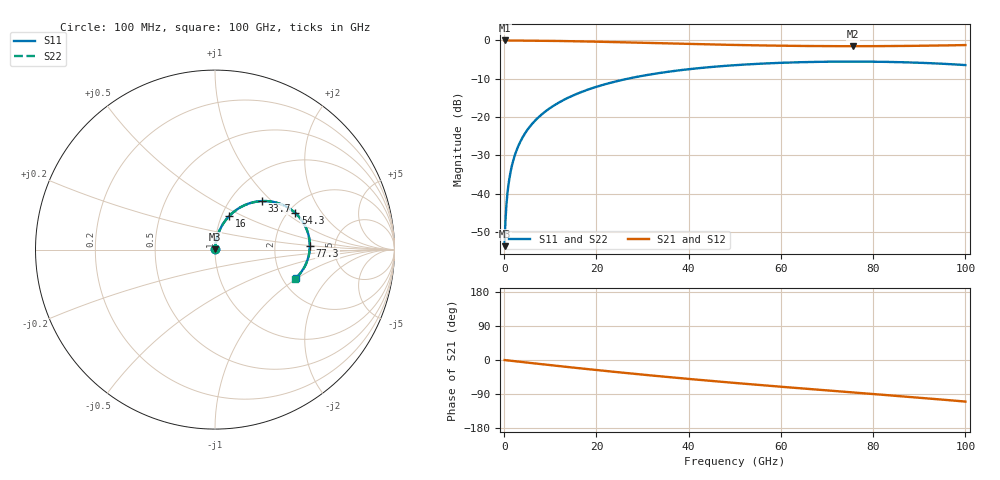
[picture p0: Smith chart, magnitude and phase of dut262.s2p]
! Touchstone file exported from HFSS 2026.1.0
!  File:  C:/ffzhzh/LocalFiles/Ansys_Project_Files/temp_train_RDL_262_1783501696_41296.aedt
!  Generated:  05:09:30 PM Jul  8, 2026
!  Design:  RDL
!  Project:  temp_train_RDL_262_1783501696_41296
! Variables:
!  h_bsmrdl = 2um
!  h_ox = 20um
!  h_rdl = 5um
!  h_sub = 80um
!  h_tmrdl = 3.65um
!  h_tsv = 80um
!  h_via = 3um
!  l_bsmrdl = 300um
!  l_sub = 751.84um
!  l_tmrdl = 351.84um
!  m_sub = 200um
!  pitch = 59.42um
!  r_tsv = 6um
!  s_tmrdl = 10um
!  w_bsmrdl = 18um
!  w_sub = 500um
!  w_tmrdl = 29.65um
!  x_tsv_center1 = 366.665um
!  x_tsv_center2 = 684.665um
!  x_tsv_center3 = 1066.155um
!  x_tsv_center4 = 1384.155um
!  x_tsv_center5 = 1765.645um
!  x_tsv_center6 = 2083.645um
# GHz S MA R 50.000000
! Terminal data exported
! Port[1] = TM_RDL1_1_T1
! Port[2] = TM_RDL1_1_T2
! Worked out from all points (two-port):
!   1000 points, 100 MHz to 100 GHz, reference 50 ohm
!   highest |S21| = -0.01 dB at 100 MHz (marker M1); lowest = -1.5 dB at 75.6 GHz (marker M2)
!   |S21| within 3 dB of the highest: start of sweep to end of sweep
!   lowest |S11| = -53.7 dB at 100 MHz (marker M3), VSWR 1.00, Z = 50.1 + j0.151 ohm
!   |S11| at or under -10 dB: start of sweep to 26.81 GHz
!   |S22| runs from -53.7 to -5.5 dB; largest |S21 - S12| = 3.9e-15
!   S11 on the Smith chart (normalised r, x): 100 MHz: 1.00, +0.00; 16 GHz: 1.09, +0.42; 33.7 GHz: 1.39, +0.87; 54.3 GHz: 2.19, +1.18; 77.3 GHz: 3.23, +0.20; 100 GHz: 2.35, -0.97
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0.1  0.002055 47.1  0.9986 -0.1  0.9986 -0.1  0.002055 47.1
! Gamma 0 0 0 0
! Port Impedance 50 0 50 0
0.8  0.01121 79.7  0.9981 -1.1  0.9981 -1.1  0.01121 79.7
1.1  0.01523 81.5  0.998 -1.5  0.998 -1.5  0.01523 81.5
1.4  0.01927 82.4  0.9979 -1.9  0.9979 -1.9  0.01927 82.4
1.9  0.02602 83.0  0.9977 -2.6  0.9977 -2.6  0.02602 82.9
2.4  0.03276 83.0  0.9973 -3.3  0.9973 -3.3  0.03276 83.0
3.8  0.0515 82.0  0.9961 -5.2  0.9961 -5.2  0.0515 82.0
5.8  0.07782 79.7  0.9938 -7.9  0.9938 -7.9  0.07782 79.7
8.5  0.1125 76.4  0.9896 -11.5  0.9896 -11.5  0.1125 76.4
11.9  0.1546 72.2  0.9831 -16.0  0.9831 -16.0  0.1546 72.1
16  0.2032 67.1  0.9735 -21.4  0.9735 -21.4  0.2032 67.0
16.8  0.2123 66.1  0.9714 -22.4  0.9714 -22.4  0.2123 66.0
24.2  0.2911 57.1  0.95 -31.6  0.95 -31.6  0.2911 57.0
33.4  0.373 46.4  0.9205 -42.5  0.9205 -42.5  0.373 46.3
33.7  0.3754 46.1  0.9195 -42.9  0.9195 -42.9  0.3754 46.0
50.1  0.4752 28.6  0.8721 -60.6  0.8721 -60.6  0.4753 28.5
54.3  0.4921 24.4  0.8628 -64.9  0.8628 -64.9  0.4921 24.3
66.7  0.5231 12.4  0.8444 -77.1  0.8444 -77.1  0.5232 12.2
75.6  0.5292 4.0  0.8404 -85.6  0.8404 -85.6  0.5293 3.8
77.3  0.5289 2.4  0.8406 -87.2  0.8406 -87.2  0.5289 2.2
83.4  0.5237 -3.4  0.8435 -93.1  0.8435 -93.1  0.5237 -3.6
100  0.4764 -19.6  0.8693 -109.7  0.8693 -109.7  0.4764 -19.9
